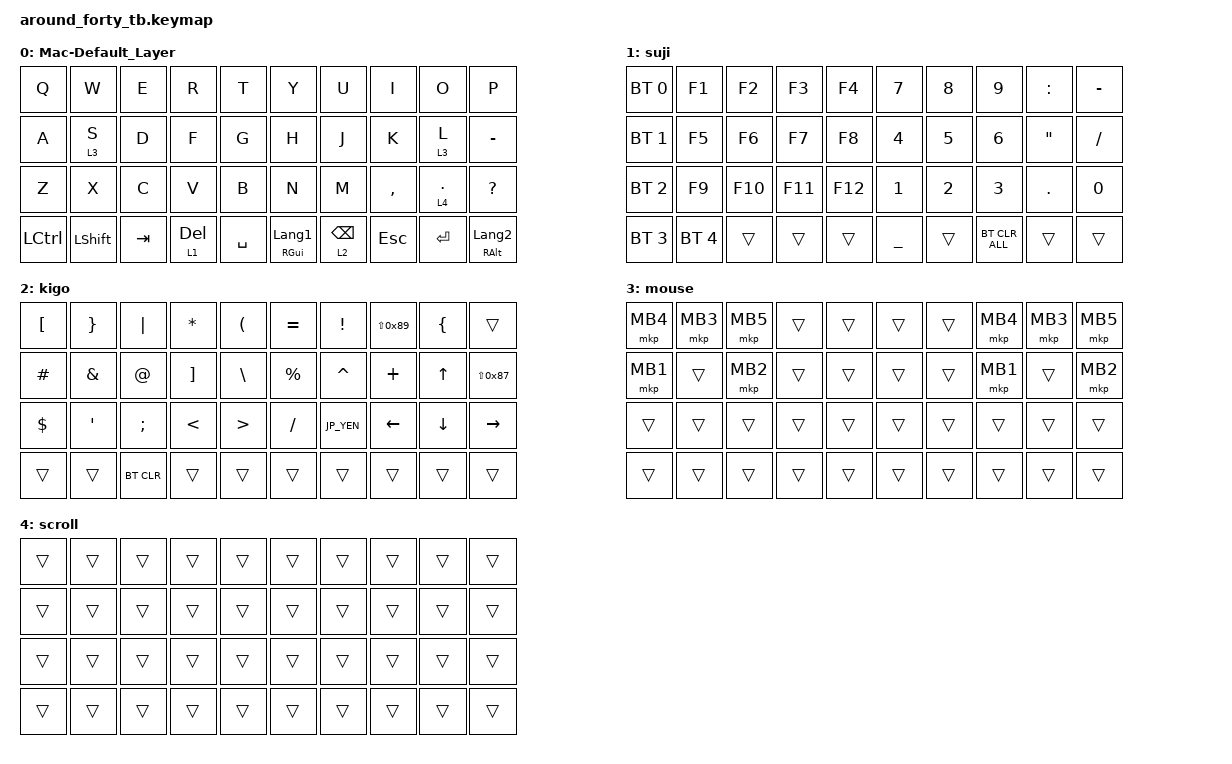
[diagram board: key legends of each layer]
#define ZMK_POINTING_DEFAULT_SCRL_VAL 100
#define MOUSE 3

#include <behaviors/rgbled_widget.dtsi>  // needed to use the behaviors
#include <behaviors.dtsi>
#include <dt-bindings/zmk/bt.h>
#include <dt-bindings/zmk/keys.h>
#include <dt-bindings/zmk/pointing.h>

// OS設定を日本語キーボードのまま使用するための変換定義

#define JP_DQUOTE       AT                // "
#define JP_AMPERSAND    CARET             // &
#define JP_QUOTE        AMPERSAND         // '
#define JP_EQUAL        UNDER             // =
#define JP_CARET        EQUAL             // ^
#define JP_YEN          0x89              // ¥
#define JP_PLUS         COLON             // +
#define JP_TILDE        PLUS              // ~
#define JP_PIPE         LS(0x89)          // |
#define JP_AT           LEFT_BRACKET      // @
#define JP_COLON        SINGLE_QUOTE      // :
#define JP_ASTERISK     DOUBLE_QUOTES     // *
#define JP_BACKQUOTE    LEFT_BRACE        // `
#define JP_UNDERSCORE   LS(0x87)          // _
#define JP_LBRACKET     RIGHT_BRACKET     // [
#define JP_RBRACKET     BACKSLASH         // ]
#define JP_LPAREN       ASTERISK          // (
#define JP_RPAREN       LEFT_PARENTHESIS  // )
#define JP_LBRACE       RIGHT_BRACE       // {
#define JP_RBRACE       PIPE              // }
#define JP_KANA         LANGUAGE_1        // かな
#define JP_EISU         LANGUAGE_2        // 英数
#define JP_HANZEN       GRAVE             // 半角/全角

&mt {
    flavor = "balanced";
    quick-tap-ms = <0>;
};

/ {
    combos { compatible = "zmk,combos"; };

    macros {
        to_layer_0: to_layer_0 {
            compatible = "zmk,behavior-macro-one-param";
            #binding-cells = <1>;
            bindings = <&to 0 &macro_param_1to1 &kp MACRO_PLACEHOLDER>;
            label = "TO_LAYER_0";
        };
    };

    behaviors {
        lt_to_layer_0: lt_to_layer_0 {
            compatible = "zmk,behavior-hold-tap";
            label = "LAYER_TAP_TO_0";
            bindings = <&mo>, <&to_layer_0>;

            #binding-cells = <2>;
            tapping-term-ms = <200>;
        };

        scroll_up_down: behavior_sensor_rotate_mouse_wheel_up_down {
            compatible = "zmk,behavior-sensor-rotate";
            #sensor-binding-cells = <0>;
            bindings = <&msc SCRL_UP>, <&msc SCRL_DOWN>;

            tap-ms = <20>;
        };
    };

    keymap {
        compatible = "zmk,keymap";

        Mac-Default_Layer {
            bindings = <
&kp Q      &kp W           &kp E    &kp R         &kp T      &kp Y                     &kp U            &kp I       &kp O         &kp P
&kp A      &lt 3 S         &kp D    &kp F         &kp G      &kp H                     &kp J            &kp K       &lt 3 L       &kp MINUS
&kp Z      &kp X           &kp C    &kp V         &kp B      &kp N                     &kp M            &kp COMMA   &lt 4 PERIOD  &kp QUESTION
&kp LCTRL  &kp LEFT_SHIFT  &kp TAB  &lt 1 DELETE  &kp SPACE  &mt RIGHT_GUI LANGUAGE_1  &lt 2 BACKSPACE  &kp ESCAPE  &kp ENTER     &mt RIGHT_ALT LANGUAGE_2
            >;
        };

        suji {
            bindings = <
&bt BT_SEL 0  &kp F1        &kp F2   &kp F3   &kp F4   &kp N7        &kp N8  &kp N9          &kp JP_PLUS      &kp MINUS
&bt BT_SEL 1  &kp F5        &kp F6   &kp F7   &kp F8   &kp N4        &kp N5  &kp N6          &kp JP_ASTERISK  &kp FSLH
&bt BT_SEL 2  &kp F9        &kp F10  &kp F11  &kp F12  &kp N1        &kp N2  &kp N3          &kp PERIOD       &kp N0
&bt BT_SEL 3  &bt BT_SEL 4  &trans   &trans   &trans   &kp JP_EQUAL  &trans  &bt BT_CLR_ALL  &trans           &trans
            >;
        };

        kigo {
            bindings = <
&kp JP_AT   &kp JP_LBRACE  &kp JP_RBRACE  &kp JP_LPAREN    &kp JP_RPAREN     &kp JP_CARET  &kp EXCLAMATION   &kp JP_PIPE     &kp JP_BACKQUOTE  &trans
&kp HASH    &kp JP_QUOTE   &kp JP_DQUOTE  &kp JP_LBRACKET  &kp JP_RBRACKET   &kp PERCENT   &kp JP_AMPERSAND  &kp JP_TILDE    &kp UP_ARROW      &kp JP_UNDERSCORE
&kp DOLLAR  &kp JP_COLON   &kp SEMICOLON  &kp LESS_THAN    &kp GREATER_THAN  &kp SLASH     &kp JP_YEN        &kp LEFT_ARROW  &kp DOWN_ARROW    &kp RIGHT_ARROW
&trans      &trans         &bt BT_CLR     &trans           &trans            &trans        &trans            &trans          &trans            &trans
            >;
        };

        mouse {
            bindings = <
&mkp MB4  &mkp MB3  &mkp MB5  &trans  &trans  &trans  &trans  &mkp MB4  &mkp MB3  &mkp MB5
&mkp MB1  &trans    &mkp MB2  &trans  &trans  &trans  &trans  &mkp MB1  &trans    &mkp MB2
&trans    &trans    &trans    &trans  &trans  &trans  &trans  &trans    &trans    &trans
&trans    &trans    &trans    &trans  &trans  &trans  &trans  &trans    &trans    &trans
            >;
        };

        scroll {
            bindings = <
&trans  &trans  &trans  &trans  &trans  &trans  &trans  &trans  &trans  &trans
&trans  &trans  &trans  &trans  &trans  &trans  &trans  &trans  &trans  &trans
&trans  &trans  &trans  &trans  &trans  &trans  &trans  &trans  &trans  &trans
&trans  &trans  &trans  &trans  &trans  &trans  &trans  &trans  &trans  &trans
            >;
        };
    };
};
